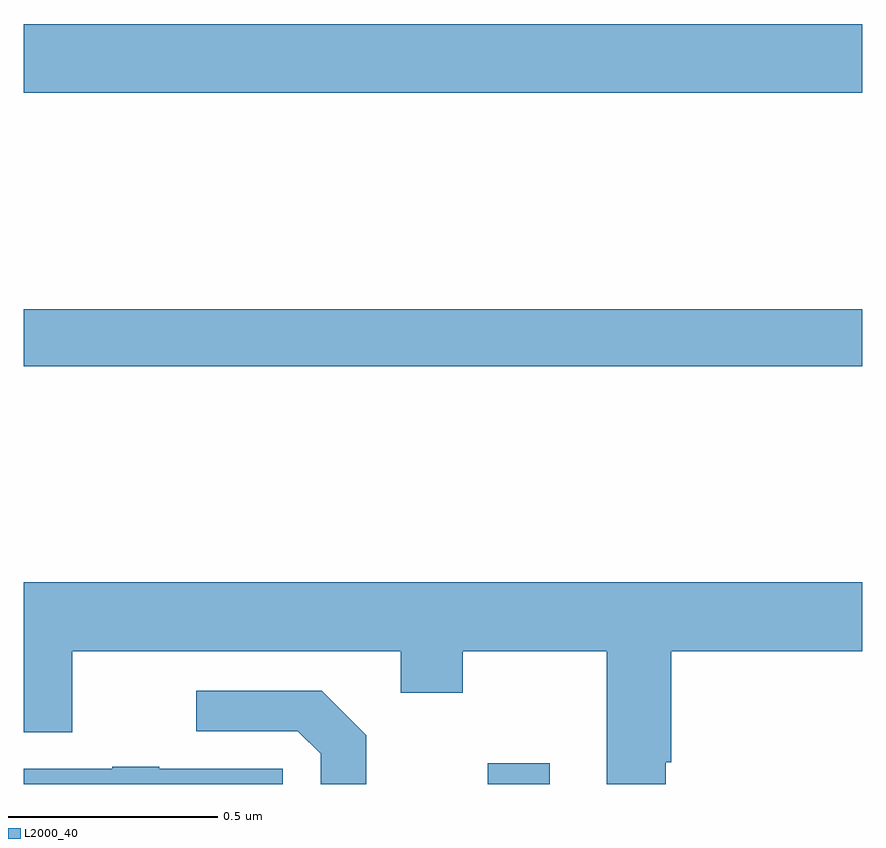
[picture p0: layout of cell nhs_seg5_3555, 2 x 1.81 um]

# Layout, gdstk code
import gdstk
lib = gdstk.Library(unit=1e-6, precision=1e-09)
def R(c, l, rs):  # rectangles x0, y0, x1, y1
    for r in rs: c.add(gdstk.rectangle(r[:2], r[2:], *l))
def P(c, l, *ps):  # polygons
    for p in ps: c.add(gdstk.Polygon(p, *l))
L2000_40 = (2000, 40)

nhs_seg5_3555 = lib.new_cell('nhs_seg5_3555')
R(nhs_seg5_3555, L2000_40, [(160.107,833.799,160.255,833.848), (159,834.796,161,834.932), (159,835.448,161,835.612)])
P(nhs_seg5_3555, L2000_40, [(160.531,833.851),(160.544,833.851),(160.544,834.116),(161,834.116),(161,834.28),(159,834.28),(159,833.922),(159.115,833.922),(159.115,834.116),(159.899,834.116),(159.899,834.017),(160.047,834.017),(160.047,834.116),(160.391,834.116),(160.391,833.799),(160.531,833.799)],
  [(159.817,833.915),(159.711,834.021),(159.411,834.021),(159.411,833.925),(159.654,833.925),(159.708,833.871),(159.708,833.799),(159.817,833.799)],
  [(159.618,833.835),(159.323,833.835),(159.323,833.84),(159.211,833.84),(159.211,833.835),(159,833.835),(159,833.799),(159.618,833.799)])

lib.write_gds('nhs_seg5_3555.gds')
